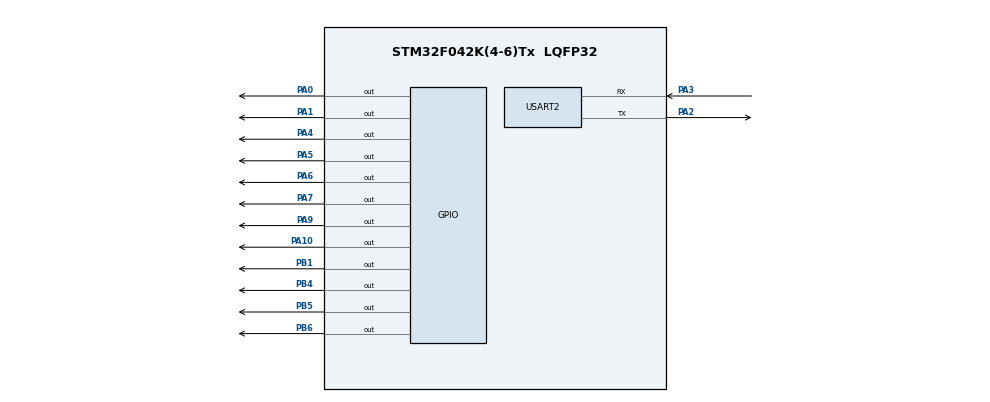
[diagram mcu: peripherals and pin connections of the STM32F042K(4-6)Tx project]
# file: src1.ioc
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Mcu.Family=STM32F0
Mcu.Name=STM32F042K(4-6)Tx
Mcu.Package=LQFP32
PA0.Signal=GPIO_Output
PA1.Signal=GPIO_Output
PA10.Signal=GPIO_Output
PA13.Mode=Serial_Wire
PA13.Signal=SYS_SWDIO
PA14.Mode=Serial_Wire
PA14.Signal=SYS_SWCLK
PA2.Mode=Asynchronous
PA2.Signal=USART2_TX
PA3.Mode=Asynchronous
PA3.Signal=USART2_RX
PA4.Signal=GPIO_Output
PA5.Signal=GPIO_Output
PA6.Signal=GPIO_Output
PA7.Signal=GPIO_Output
PA9.Signal=GPIO_Output
PB1.Signal=GPIO_Output
PB4.Signal=GPIO_Output
PB5.Signal=GPIO_Output
PB6.Signal=GPIO_Output
PF0-OSC_IN.Mode=HSE-External-Oscillator
PF0-OSC_IN.Signal=RCC_OSC_IN
PF1-OSC_OUT.Mode=HSE-External-Oscillator
PF1-OSC_OUT.Signal=RCC_OSC_OUT
ProjectManager.HeapSize=0x200
ProjectManager.StackSize=0x400
ProjectManager.TargetToolchain=STM32CubeIDE
USART2.VirtualMode-Asynchronous=VM_ASYNC
board=custom

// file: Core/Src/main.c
/* USER CODE BEGIN Header */
/**
  ******************************************************************************
  * @file           : main.c
  * @brief          : Main program body
  ******************************************************************************
  * @attention
  *
  * Copyright (c) 2025 STMicroelectronics.
  * All rights reserved.
  *
  * This software is licensed under terms that can be found in the LICENSE file
  * in the root directory of this software component.
  * If no LICENSE file comes with this software, it is provided AS-IS.
  *
  ******************************************************************************
  */
/* USER CODE END Header */
#include "main.h"

/* USER CODE BEGIN PD */

#define DIGIT1_PIN GPIO_PIN_4		// Example: GPIOB Pin 0
#define DIGIT2_PIN GPIO_PIN_5 		// Example: GPIOB Pin 1
#define DIGIT3_PIN GPIO_PIN_1		// Example: GPIOB Pin 6
#define DIGIT4_PIN GPIO_PIN_6 		// Example: GPIOB Pin 7
#define DIGIT_PORT GPIOB       		// Common anode GPIO port

#define SEGMENT_A_PIN GPIO_PIN_5 	// Example: GPIOA Pin 5
#define SEGMENT_PORT GPIOA       	// Segment GPIO port

/* USER CODE END PD */

UART_HandleTypeDef huart2;

void SystemClock_Config(void);
static void MX_GPIO_Init(void);
static void MX_USART2_UART_Init(void);

/* USER CODE BEGIN 0 */

void lightUpDigit(GPIO_TypeDef *digitPort, uint16_t digitPin)
{
    // Turn off all digits
    HAL_GPIO_WritePin(DIGIT_PORT, DIGIT1_PIN, GPIO_PIN_RESET);
    HAL_GPIO_WritePin(DIGIT_PORT, DIGIT2_PIN, GPIO_PIN_RESET);
    HAL_GPIO_WritePin(DIGIT_PORT, DIGIT3_PIN, GPIO_PIN_RESET);
    HAL_GPIO_WritePin(DIGIT_PORT, DIGIT4_PIN, GPIO_PIN_RESET);

    // Turn on the desired digit
    HAL_GPIO_WritePin(digitPort, digitPin, GPIO_PIN_SET);
}

void turnOnSegment()
{
    // Turn on the segment (e.g., segment A)
    HAL_GPIO_WritePin(SEGMENT_PORT, SEGMENT_A_PIN, GPIO_PIN_SET);
    HAL_GPIO_WritePin(SEGMENT_PORT, SEGMENT_A_PIN, GPIO_PIN_SET);
}

void turnOffSegment()
{
    // Turn off the segment
    HAL_GPIO_WritePin(SEGMENT_PORT, SEGMENT_A_PIN, GPIO_PIN_RESET);
    HAL_GPIO_WritePin(SEGMENT_PORT, SEGMENT_A_PIN, GPIO_PIN_SET);
}

/* USER CODE END 0 */

int main(void)
{

  /* MCU Configuration--------------------------------------------------------*/

  /* Reset of all peripherals, Initializes the Flash interface and the Systick. */
  HAL_Init();

  /* Configure the system clock */
  SystemClock_Config();

  /* Initialize all configured peripherals */
  MX_GPIO_Init();
  MX_USART2_UART_Init();

  /* Infinite loop */
  while (1)
  {

    /* USER CODE BEGIN 3 */
	  // Light up the first digit
	  lightUpDigit(DIGIT_PORT, DIGIT1_PIN);
	  turnOnSegment();
	  HAL_Delay(500);
	  turnOffSegment();

	  // Light up the second digit
	  lightUpDigit(DIGIT_PORT, DIGIT2_PIN);
	  turnOnSegment();
	  HAL_Delay(500);
	  turnOffSegment();

	  // Light up the third digit
	  lightUpDigit(DIGIT_PORT, DIGIT3_PIN);
	  turnOnSegment();
	  HAL_Delay(500);
	  turnOffSegment();

	  // Light up the fourth digit
	  lightUpDigit(DIGIT_PORT, DIGIT4_PIN);
	  turnOnSegment();
	  HAL_Delay(500);
	  turnOffSegment();

  }
  /* USER CODE END 3 */
}

void SystemClock_Config(void)
{
  RCC_OscInitTypeDef RCC_OscInitStruct = {0};
  RCC_ClkInitTypeDef RCC_ClkInitStruct = {0};

  /** Initializes the RCC Oscillators according to the specified parameters
  * in the RCC_OscInitTypeDef structure.
  */
  RCC_OscInitStruct.OscillatorType = RCC_OSCILLATORTYPE_HSI;
  RCC_OscInitStruct.HSIState = RCC_HSI_ON;
  RCC_OscInitStruct.HSICalibrationValue = RCC_HSICALIBRATION_DEFAULT;
  RCC_OscInitStruct.PLL.PLLState = RCC_PLL_NONE;
  if (HAL_RCC_OscConfig(&RCC_OscInitStruct) != HAL_OK)
  {
    Error_Handler();
  }

  /** Initializes the CPU, AHB and APB buses clocks
  */
  RCC_ClkInitStruct.ClockType = RCC_CLOCKTYPE_HCLK|RCC_CLOCKTYPE_SYSCLK
                              |RCC_CLOCKTYPE_PCLK1;
  RCC_ClkInitStruct.SYSCLKSource = RCC_SYSCLKSOURCE_HSI;
  RCC_ClkInitStruct.AHBCLKDivider = RCC_SYSCLK_DIV1;
  RCC_ClkInitStruct.APB1CLKDivider = RCC_HCLK_DIV1;

  if (HAL_RCC_ClockConfig(&RCC_ClkInitStruct, FLASH_LATENCY_0) != HAL_OK)
  {
    Error_Handler();
  }
}

static void MX_USART2_UART_Init(void)
{

  huart2.Instance = USART2;
  huart2.Init.BaudRate = 38400;
  huart2.Init.WordLength = UART_WORDLENGTH_8B;
  huart2.Init.StopBits = UART_STOPBITS_1;
  huart2.Init.Parity = UART_PARITY_NONE;
  huart2.Init.Mode = UART_MODE_TX_RX;
  huart2.Init.HwFlowCtl = UART_HWCONTROL_NONE;
  huart2.Init.OverSampling = UART_OVERSAMPLING_16;
  huart2.Init.OneBitSampling = UART_ONE_BIT_SAMPLE_DISABLE;
  huart2.AdvancedInit.AdvFeatureInit = UART_ADVFEATURE_NO_INIT;
  if (HAL_UART_Init(&huart2) != HAL_OK)
  {
    Error_Handler();
  }

}

static void MX_GPIO_Init(void)
{
  GPIO_InitTypeDef GPIO_InitStruct = {0};

  /* GPIO Ports Clock Enable */
  __HAL_RCC_GPIOF_CLK_ENABLE();
  __HAL_RCC_GPIOA_CLK_ENABLE();
  __HAL_RCC_GPIOB_CLK_ENABLE();

  /*Configure GPIO pin Output Level */
  HAL_GPIO_WritePin(GPIOA, GPIO_PIN_0|GPIO_PIN_5, GPIO_PIN_RESET);

  /*Configure GPIO pin Output Level */
  HAL_GPIO_WritePin(GPIOB, GPIO_PIN_1|GPIO_PIN_4|GPIO_PIN_5|GPIO_PIN_6, GPIO_PIN_RESET);

  /*Configure GPIO pins : PA0 PA5 */
  GPIO_InitStruct.Pin = GPIO_PIN_0|GPIO_PIN_5;
  GPIO_InitStruct.Mode = GPIO_MODE_OUTPUT_PP;
  GPIO_InitStruct.Pull = GPIO_NOPULL;
  GPIO_InitStruct.Speed = GPIO_SPEED_FREQ_LOW;
  HAL_GPIO_Init(GPIOA, &GPIO_InitStruct);

  /*Configure GPIO pins : PB1 PB4 PB5 PB6 */
  GPIO_InitStruct.Pin = GPIO_PIN_1|GPIO_PIN_4|GPIO_PIN_5|GPIO_PIN_6;
  GPIO_InitStruct.Mode = GPIO_MODE_OUTPUT_PP;
  GPIO_InitStruct.Pull = GPIO_NOPULL;
  GPIO_InitStruct.Speed = GPIO_SPEED_FREQ_LOW;
  HAL_GPIO_Init(GPIOB, &GPIO_InitStruct);

}

void Error_Handler(void)
{
  __disable_irq();
  while (1)
  {
  }
}
